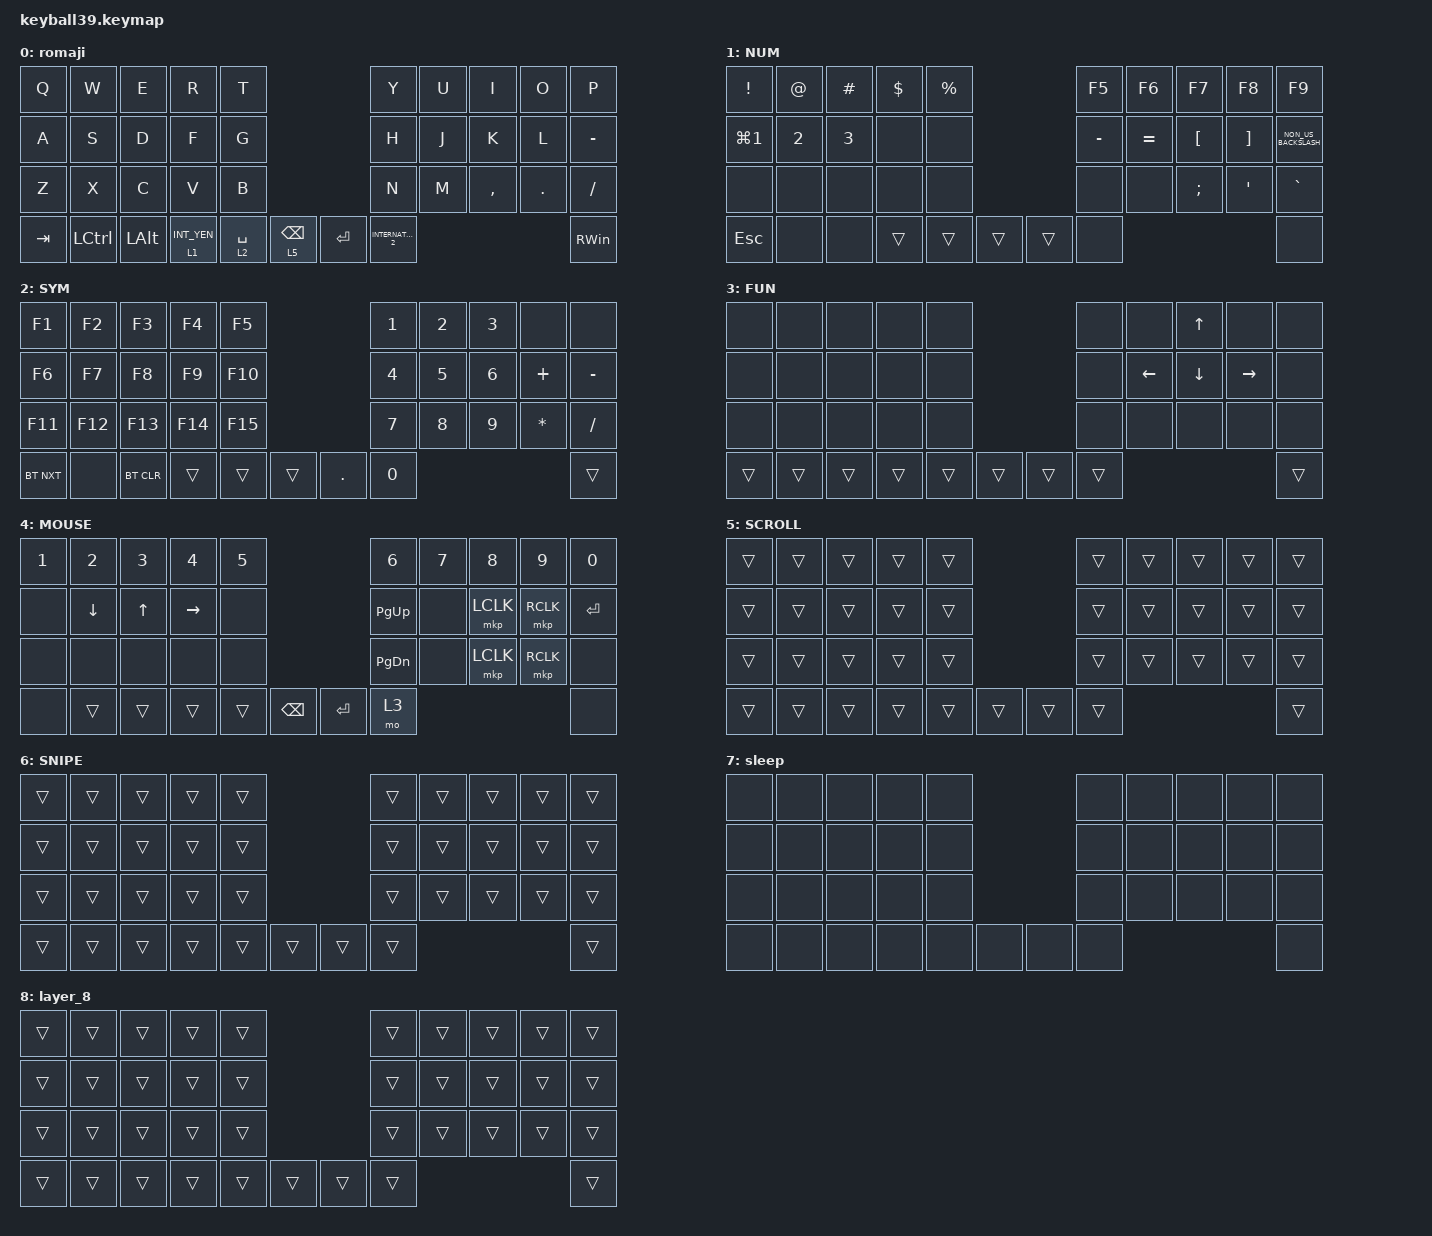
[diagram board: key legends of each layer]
#define DEFAULT 0
#define NUM     1
#define SYM     2
#define FUN     3
#define MOUSE   4
#define SCROLL  5
#define SNIPE   6

#include <behaviors/mouse_keys.dtsi>
#include <dt-bindings/zmk/mouse.h>
#include <behaviors.dtsi>
#include <dt-bindings/zmk/bt.h>
#include <dt-bindings/zmk/keys.h>

&lt {
    tapping-term-ms = <200>;
    flavor = "balanced";
    quick-tap-ms = <120>;
};

&mt {
    tapping-term-ms = <200>;
    flavor = "tap-preferred";
    quick-tap-ms = <120>;
};

&caps_word { continue-list = <UNDERSCORE MINUS>; };

/ {
    // custom shift using mod-morph 

    behaviors {
        cmqus: comma_question {
            compatible = "zmk,behavior-mod-morph";
            label = "COMMA_QUESTION";
            #binding-cells = <0>;
            bindings = <&kp COMMA>, <&kp QUESTION>;

            mods = <(MOD_LSFT|MOD_RSFT)>;
        };

        dtsmi: dot_semi {
            compatible = "zmk,behavior-mod-morph";
            label = "DOT_SEMI";
            #binding-cells = <0>;
            bindings = <&kp DOT>, <&kp SEMI>;

            mods = <(MOD_LSFT|MOD_RSFT)>;
        };
    };

    macros {
        Hiragana: Hiragana {
            compatible = "zmk,behavior-macro";
            #binding-cells = <0>;
            bindings = <&kp LC(SPACE)>;
            label = "HIRAGANA";
        };
    };

    combos {
        compatible = "zmk,combos";

        sleep {
            bindings = <&to 7>;
            key-positions = <0 9>;
        };

        sleepoff {
            bindings = <&to 0>;
            key-positions = <4 5>;
        };
    };

    keymap {
        compatible = "zmk,keymap";

        default_layer {
            label = "romaji";
            bindings = <
&kp Q    &kp W      &kp E     &kp R          &kp T                                    &kp Y                &kp U  &kp I      &kp O       &kp P
&kp A    &kp S      &kp D     &kp F          &kp G                                    &kp H                &kp J  &kp K      &kp L       &kp MINUS
&kp Z    &kp X      &kp C     &kp V          &kp B                                    &kp N                &kp M  &kp COMMA  &kp PERIOD  &kp SLASH
&kp TAB  &kp LCTRL  &kp LALT  &lt 1 INT_YEN  &lt 2 SPACE  &lt 5 BACKSPACE  &kp ENTER  &kp INTERNATIONAL_2                                &kp RIGHT_WIN
            >;
        };

        number_layer {
            label = "NUM";
            bindings = <
&kp EXCLAMATION   &kp AT_SIGN   &kp HASH      &kp DOLLAR  &kp PERCENT                  &kp F5     &kp F6     &kp F7            &kp F8             &kp F9
&kp LG(NUMBER_1)  &kp NUMBER_2  &kp NUMBER_3  &none       &none                        &kp MINUS  &kp EQUAL  &kp LEFT_BRACKET  &kp RIGHT_BRACKET  &kp NON_US_BACKSLASH
&none             &none         &none         &none       &none                        &none      &none      &kp SEMICOLON     &kp SQT            &kp GRAVE
&kp ESCAPE        &none         &none         &trans      &trans       &trans  &trans  &none                                                      &none
            >;
        };

        symbol_layer {
            label = "SYM";
            bindings = <
&kp F1      &kp F2   &kp F3      &kp F4   &kp F5                       &kp NUMBER_1  &kp NUMBER_2  &kp NUMBER_3  &none         &none
&kp F6      &kp F7   &kp F8      &kp F9   &kp F10                      &kp NUMBER_4  &kp N5        &kp NUMBER_6  &kp PLUS      &kp MINUS
&kp F11     &kp F12  &kp F13     &kp F14  &kp F15                      &kp NUMBER_7  &kp N8        &kp N9        &kp ASTERISK  &kp SLASH
&bt BT_NXT  &none    &bt BT_CLR  &trans   &trans   &trans  &kp PERIOD  &kp N0                                                  &trans
            >;
        };

        function_layer {
            label = "FUN";
            bindings = <
&none   &none   &none   &none   &none                   &none   &none     &kp UP_ARROW    &none            &none
&none   &none   &none   &none   &none                   &none   &kp LEFT  &kp DOWN_ARROW  &kp RIGHT_ARROW  &none
&none   &none   &none   &none   &none                   &none   &none     &none           &none            &none
&trans  &trans  &trans  &trans  &trans  &trans  &trans  &trans                                             &trans
            >;
        };

        mouse_layer {
            label = "MOUSE";
            bindings = <
&kp N1  &kp N2          &kp N3        &kp N4     &kp N5                            &kp N6         &kp N7  &kp N8     &kp N9     &kp N0
&none   &kp DOWN_ARROW  &kp UP_ARROW  &kp RIGHT  &none                             &kp PAGE_UP    &none   &mkp LCLK  &mkp RCLK  &kp ENTER
&none   &none           &none         &none      &none                             &kp PAGE_DOWN  &none   &mkp LCLK  &mkp RCLK  &none
&none   &trans          &trans        &trans     &trans  &kp BACKSPACE  &kp ENTER  &mo 3                                        &none
            >;
        };

        scroll_layer {
            label = "SCROLL";
            bindings = <
&trans  &trans  &trans  &trans  &trans                  &trans  &trans  &trans  &trans  &trans
&trans  &trans  &trans  &trans  &trans                  &trans  &trans  &trans  &trans  &trans
&trans  &trans  &trans  &trans  &trans                  &trans  &trans  &trans  &trans  &trans
&trans  &trans  &trans  &trans  &trans  &trans  &trans  &trans                          &trans
            >;
        };

        snipe_layer {
            label = "SNIPE";
            bindings = <
&trans  &trans  &trans  &trans  &trans                  &trans  &trans  &trans  &trans  &trans
&trans  &trans  &trans  &trans  &trans                  &trans  &trans  &trans  &trans  &trans
&trans  &trans  &trans  &trans  &trans                  &trans  &trans  &trans  &trans  &trans
&trans  &trans  &trans  &trans  &trans  &trans  &trans  &trans                          &trans
            >;
        };

        sleep {
            bindings = <
&none  &none  &none  &none  &none                &none  &none  &none  &none  &none
&none  &none  &none  &none  &none                &none  &none  &none  &none  &none
&none  &none  &none  &none  &none                &none  &none  &none  &none  &none
&none  &none  &none  &none  &none  &none  &none  &none                       &none
            >;

            label = "sleep";
        };

        layer_8 {
            bindings = <
&trans  &trans  &trans  &trans  &trans                  &trans  &trans  &trans  &trans  &trans
&trans  &trans  &trans  &trans  &trans                  &trans  &trans  &trans  &trans  &trans
&trans  &trans  &trans  &trans  &trans                  &trans  &trans  &trans  &trans  &trans
&trans  &trans  &trans  &trans  &trans  &trans  &trans  &trans                          &trans
            >;
        };
    };
};
